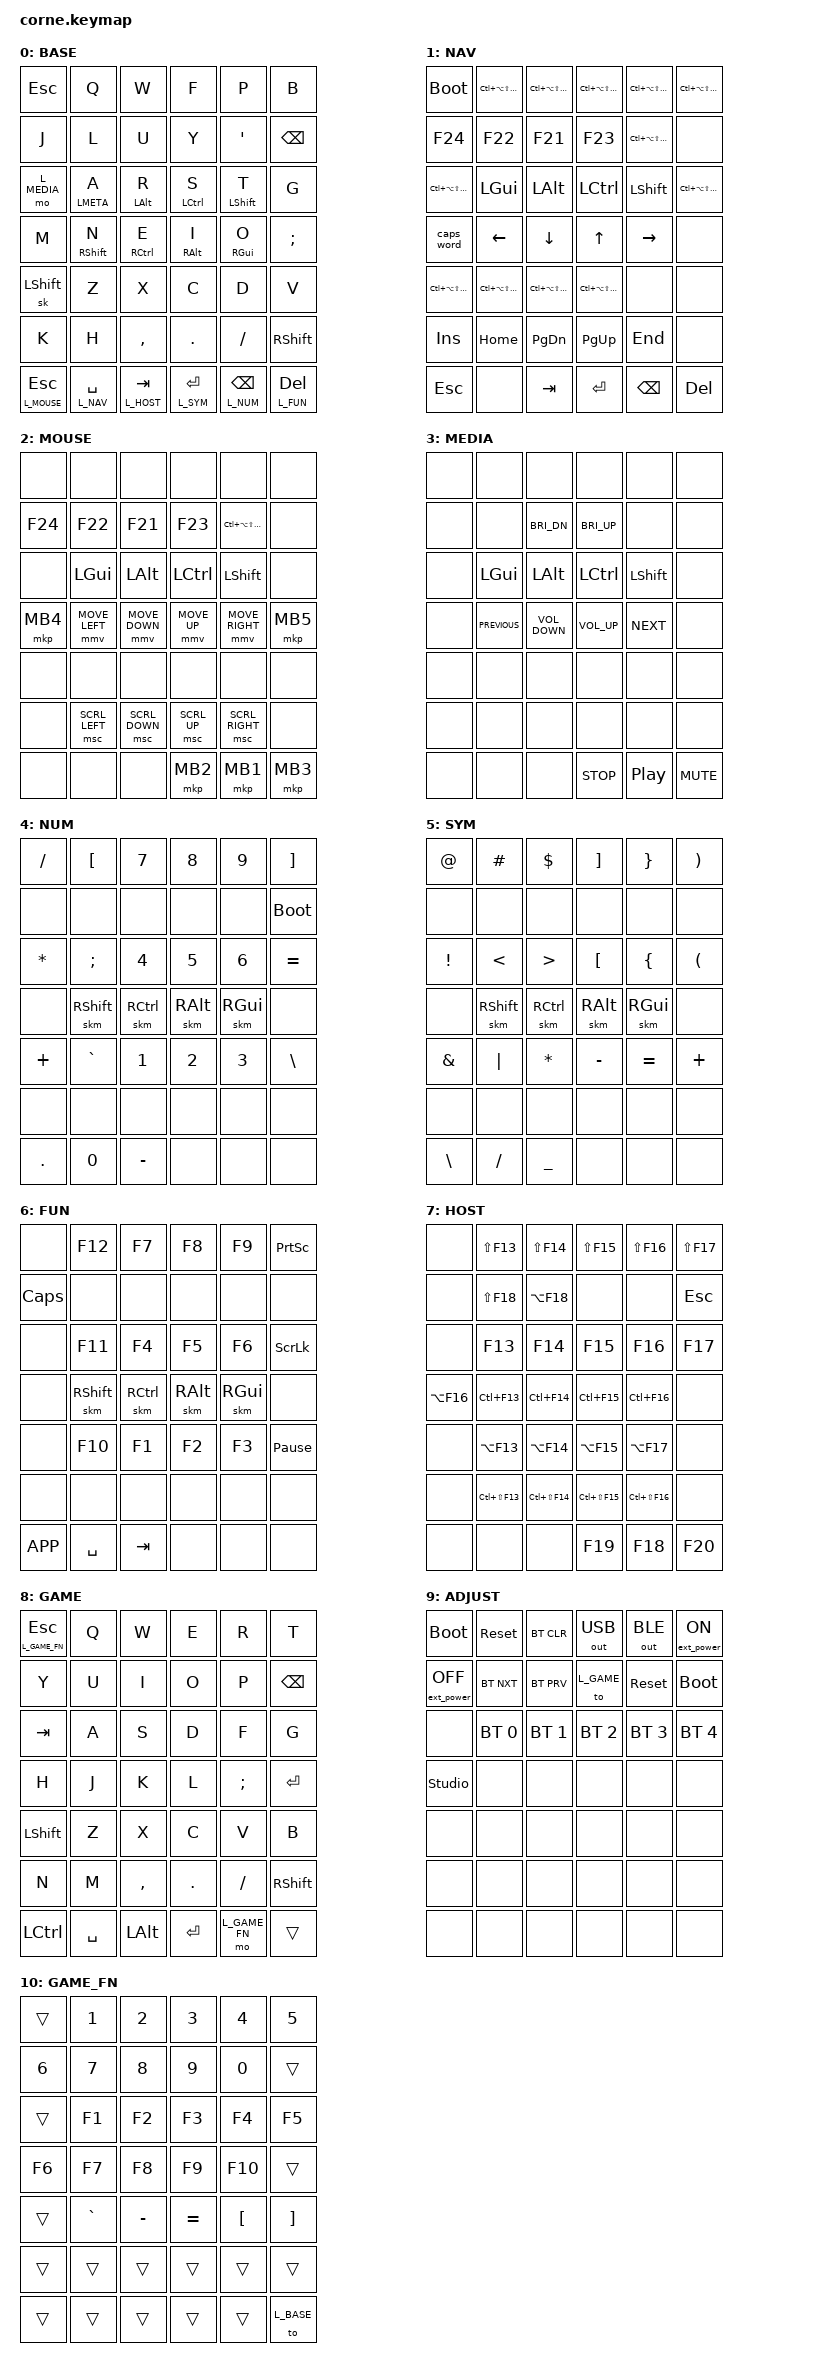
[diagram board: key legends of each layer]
/*
 * Copyright (c) 2020 The ZMK Contributors
 *
 * SPDX-License-Identifier: MIT
 */

#define ZMK_POINTING_DEFAULT_MOVE_VAL 800
#define ZMK_POINTING_DEFAULT_SCRL_VAL 20

#include <zmk-helpers/key-labels/42.h>
#include <behaviors.dtsi>
#include <dt-bindings/zmk/bt.h>
#include <dt-bindings/zmk/ext_power.h>
#include <dt-bindings/zmk/keys.h>
#include <dt-bindings/zmk/outputs.h>
#include <dt-bindings/zmk/pointing.h>

/* Layer numbers are part of the persisted ZMK keymap state. */
#define L_BASE 0
#define L_NAV 1
#define L_MOUSE 2
#define L_MEDIA 3
#define L_NUM 4
#define L_SYM 5
#define L_FUN 6
#define L_HOST 7
#define L_GAME 8
#define L_ADJUST 9
#define L_GAME_FN 10

&sk {
    release-after-ms = <1000>;
    quick-release;
    lazy;
    ignore-modifiers;
};

&mmv {
    acceleration-exponent = <1>;
    time-to-max-speed-ms = <500>;
    delay-ms = <0>;
};

&lt {
    tapping-term-ms = <220>;
    flavor = "tap-preferred";
    quick-tap-ms = <180>;
};

/ {
    behaviors {
        hml: home_row_mods_left {
            compatible = "zmk,behavior-hold-tap";
            #binding-cells = <2>;
            flavor = "balanced";
            tapping-term-ms = <280>;
            quick-tap-ms = <175>;
            require-prior-idle-ms = <150>;
            hold-trigger-key-positions = <
                KEYS_R
                THUMBS_R
            >;
            hold-trigger-on-release;
            bindings = <&kp>, <&kp>;
        };

        hmr: home_row_mods_right {
            compatible = "zmk,behavior-hold-tap";
            #binding-cells = <2>;
            flavor = "balanced";
            tapping-term-ms = <280>;
            quick-tap-ms = <175>;
            require-prior-idle-ms = <150>;
            hold-trigger-key-positions = <
                KEYS_L
                THUMBS_L
            >;
            hold-trigger-on-release;
            bindings = <&kp>, <&kp>;
        };
        /*
         * Dedicated HOST thumb layer-tap. Deliberately no quick-tap or
         * require-prior-idle: HOST must engage reliably immediately after
         * ordinary typing.
         */
        host_lt: host_lt {
            compatible = "zmk,behavior-hold-tap";
            #binding-cells = <2>;
            flavor = "balanced";
            tapping-term-ms = <200>;
            bindings = <&mo>, <&kp>;
        };
        /*
         * Dedicated GAME Esc/FN hold-tap for fast left-hand chord resolution
         * during gaming (e.g. hold Esc + Q/W/E/R/T for 1-5).
         */
        game_fn_lt: game_fn_lt {
            compatible = "zmk,behavior-hold-tap";
            #binding-cells = <2>;
            flavor = "hold-preferred";
            tapping-term-ms = <200>;
            bindings = <&mo>, <&kp>;
        };
        /*
         * Dedicated one-shot sticky modifier for utility modifier rails
         * (NUM, SYM, FUN). Deliberately NO quick-release so sticky modifiers
         * can chain reliably in Callum/Seniply-style usage.
         */
        skm: sticky_modifier {
            compatible = "zmk,behavior-sticky-key";
            #binding-cells = <1>;
            bindings = <&kp>;
            release-after-ms = <1000>;
            lazy;
            ignore-modifiers;
        };
    };

    combos {
        compatible = "zmk,combos";
    };

    conditional_layers {
        compatible = "zmk,conditional-layers";

        adjust {
            if-layers = <L_NAV L_NUM>;
            then-layer = <L_ADJUST>;
        };
    };

    keymap {
        compatible = "zmk,keymap";

        BASE {
            label = "BASE";
            display-name = "BASE";
            /* Colemak-DH, symmetric HRM, thumb layer-taps, and LM5 momentary MEDIA. */
            bindings = <
                &kp ESCAPE       &kp Q              &kp W              &kp F              &kp P              &kp B
                &kp J            &kp L              &kp U              &kp Y              &kp SQT            &kp BACKSPACE
                &mo L_MEDIA      &hml LMETA A       &hml LEFT_ALT R     &hml LCTRL S        &hml LEFT_SHIFT T   &kp G
                &kp M            &hmr RIGHT_SHIFT N &hmr RCTRL E        &hmr RIGHT_ALT I    &hmr RIGHT_GUI O   &kp SEMICOLON
                &sk LSHFT        &kp Z              &kp X              &kp C              &kp D              &kp V
                &kp K            &kp H              &kp COMMA           &kp DOT            &kp SLASH          &kp RIGHT_SHIFT
                &lt L_MOUSE ESCAPE &lt L_NAV SPACE   &host_lt L_HOST TAB &lt L_SYM ENTER     &lt L_NUM BACKSPACE &lt L_FUN DELETE
            >;
        };

        NAV {
            label = "NAV";
            display-name = "NAV";
            /*
             * Right-hand navigation mirrors MOUSE and MEDIA with NEIO geometry.
             * Left-hand carries Seniply/Selenium-inspired everyday application controls:
             * Top row: tab management (PrevTab, NextTab, NewTab, CloseTab, ReopenTab).
             * Home row: primary operations (SelectAll, Save) and held modifiers (GUI, Alt, Ctrl, Shift).
             * Bottom row: secondary navigation (Find, WordLeft, WordRight, FindNext).
             * Functional-layer thumbs are explicit so BASE layer-taps do not leak into repeats.
             * LT5 provides same-side left bootloader shortcut while holding NAV.
             * Caps Word is bound on RM0; semantic F21-F24 editing signals and Hyper+F13-F24
             * application signals are interpreted by host bridges.
             */
            bindings = <
                &bootloader              &kp LC(LA(LS(LG(F16))))  &kp LC(LA(LS(LG(F17))))  &kp LC(LA(LS(LG(F18))))  &kp LC(LA(LS(LG(F19))))  &kp LC(LA(LS(LG(F20))))
                &kp F24                  &kp F22                  &kp F21                  &kp F23                  &kp LC(LA(LS(LG(F24))))  &none
                &kp LC(LA(LS(LG(F13))))  &kp LGUI                 &kp LALT                 &kp LCTRL                &kp LEFT_SHIFT           &kp LC(LA(LS(LG(F14))))
                &caps_word               &kp LEFT                 &kp DOWN                 &kp UP                   &kp RIGHT                &none
                &kp LC(LA(LS(LG(F15))))  &kp LC(LA(LS(LG(F21))))  &kp LC(LA(LS(LG(F22))))  &kp LC(LA(LS(LG(F23))))  &none                    &none
                &kp INSERT               &kp HOME                 &kp PAGE_DOWN            &kp PAGE_UP              &kp END                  &none
                &kp ESCAPE               &none                    &kp TAB                  &kp ENTER                &kp BACKSPACE            &kp DELETE
            >;
        };

        MOUSE {
            label = "MOUSE";
            display-name = "MOUSE";
            /* NAV geometry: pointer on home, wheel on the secondary bank, F21-F24 editing. */
            bindings = <
                &none            &none             &none             &none             &none             &none
                &kp F24          &kp F22           &kp F21           &kp F23           &kp LC(LA(LS(LG(F24)))) &none
                &none            &kp LGUI          &kp LALT          &kp LCTRL         &kp LEFT_SHIFT    &none
                &mkp MB4         &mmv MOVE_LEFT    &mmv MOVE_DOWN     &mmv MOVE_UP      &mmv MOVE_RIGHT   &mkp MB5
                &none            &none             &none             &none             &none             &none
                &none            &msc SCRL_LEFT    &msc SCRL_DOWN     &msc SCRL_UP      &msc SCRL_RIGHT   &none
                &none            &none             &none             &mkp MB2          &mkp MB1          &mkp MB3
            >;
        };
        MEDIA {
            label = "MEDIA";
            display-name = "MEDIA";
            /* Directional media controls share NAV's right-hand geometry using Consumer HID. */
            bindings = <
                &none            &none             &none             &none             &none             &none
                &none            &none             &kp C_BRI_DN      &kp C_BRI_UP      &none             &none
                &none            &kp LGUI          &kp LALT          &kp LCTRL         &kp LEFT_SHIFT    &none
                &none            &kp C_PREVIOUS    &kp C_VOLUME_DOWN &kp C_VOLUME_UP   &kp C_NEXT        &none
                &none            &none             &none             &none             &none             &none
                &none            &none             &none             &none             &none             &none
                &none            &none             &none             &kp C_STOP        &kp C_PLAY_PAUSE  &kp C_MUTE
            >;
        };

        NUM {
            label = "NUM";
            display-name = "NUM";
            /*
             * Spatial numpad with arithmetic operator rail on the outer column;
             * mirrored one-shot modifiers (&skm) on the right.
             * RT5 provides a same-side right bootloader shortcut while holding NUM.
             */
            bindings = <
                &kp SLASH        &kp LEFT_BRACKET  &kp NUMBER_7        &kp NUMBER_8        &kp NUMBER_9        &kp RIGHT_BRACKET
                &none            &none             &none               &none               &none               &bootloader
                &kp ASTERISK     &kp SEMICOLON     &kp NUMBER_4        &kp NUMBER_5        &kp NUMBER_6        &kp EQUAL
                &none            &skm RIGHT_SHIFT  &skm RCTRL          &skm RIGHT_ALT      &skm RIGHT_GUI      &none
                &kp PLUS         &kp GRAVE         &kp NUMBER_1        &kp NUMBER_2        &kp NUMBER_3        &kp BACKSLASH
                &none            &none             &none               &none               &none               &none
                &kp PERIOD       &kp NUMBER_0     &kp MINUS            &none               &none               &none
            >;
        };

        SYM {
            label = "SYM";
            display-name = "SYM";
            /*
             * Seniply+-inspired symbol layer:
             * paired delimiters, comparison/operators on strong positions,
             * programming sigils, and mirrored one-shot modifiers (&skm).
             */
            bindings = <
                &kp AT_SIGN      &kp HASH          &kp DOLLAR           &kp RIGHT_BRACKET   &kp RIGHT_BRACE     &kp RIGHT_PARENTHESIS
                &none            &none             &none                &none               &none               &none
                &kp EXCLAMATION  &kp LESS_THAN     &kp GREATER_THAN     &kp LEFT_BRACKET    &kp LEFT_BRACE      &kp LEFT_PARENTHESIS
                &none            &skm RIGHT_SHIFT  &skm RCTRL           &skm RIGHT_ALT      &skm RIGHT_GUI      &none
                &kp AMPERSAND    &kp PIPE          &kp ASTERISK         &kp MINUS           &kp EQUAL           &kp PLUS
                &none            &none             &none                &none               &none               &none
                &kp BACKSLASH    &kp SLASH         &kp UNDERSCORE       &none               &none               &none
            >;
        };

        FUN {
            label = "FUN";
            display-name = "FUN";
            /* F-key geometry mirrors NUM; the right hand carries one-shot modifiers (&skm). */
            bindings = <
                &none            &kp F12            &kp F7              &kp F8              &kp F9              &kp PRINTSCREEN
                &kp CAPSLOCK     &none              &none               &none              &none              &none
                &none            &kp F11            &kp F4              &kp F5              &kp F6              &kp SCROLLLOCK
                &none            &skm RIGHT_SHIFT   &skm RCTRL          &skm RIGHT_ALT      &skm RIGHT_GUI     &none
                &none            &kp F10            &kp F1              &kp F2              &kp F3              &kp PAUSE_BREAK
                &none            &none              &none               &none              &none              &none
                &kp K_APP         &kp SPACE         &kp TAB              &none              &none              &none
            >;
        };

        HOST {
            label = "HOST";
            display-name = "HOST";
            /*
             * Semantic F-key protocol arranged by frequency: home row visits
             * workspaces, top row mirrors it one row up to move a window
             * there. Left bottom row holds system and terminal launchers.
             * Right home row has Previous Window and directional focus;
             * right bottom row has directional move. Right top row has
             * modal controls (Width, Overview) and Esc. Right thumbs carry
             * context actions (Fullscreen, Previous WS, Float).
             */
            bindings = <
                &none            &kp LS(F13)      &kp LS(F14)      &kp LS(F15)      &kp LS(F16)      &kp LS(F17)
                &none            &kp LS(F18)      &kp LA(F18)      &none            &none            &kp ESCAPE
                &none            &kp F13          &kp F14          &kp F15          &kp F16          &kp F17
                &kp LA(F16)      &kp LC(F13)      &kp LC(F14)      &kp LC(F15)      &kp LC(F16)      &none
                &none            &kp LA(F13)      &kp LA(F14)      &kp LA(F15)      &kp LA(F17)      &none
                &none            &kp LC(LS(F13))  &kp LC(LS(F14))  &kp LC(LS(F15))  &kp LC(LS(F16))  &none
                &none            &none            &none            &kp F19          &kp F18          &kp F20
            >;
        };
        GAME {
            label = "GAME";
            display-name = "GAME";
            /*
             * Plain tap-only QWERTY for gaming with hold-tap Esc/FN on LT5,
             * momentary GAME_FN on RH1, and protected BASE exit on GAME_FN RH2.
             */
            bindings = <
                &game_fn_lt L_GAME_FN ESCAPE &kp Q              &kp W              &kp E              &kp R              &kp T
                &kp Y            &kp U              &kp I              &kp O              &kp P              &kp BACKSPACE
                &kp TAB          &kp A              &kp S              &kp D              &kp F              &kp G
                &kp H            &kp J              &kp K              &kp L              &kp SEMICOLON      &kp ENTER
                &kp LEFT_SHIFT   &kp Z              &kp X              &kp C              &kp V              &kp B
                &kp N            &kp M              &kp COMMA           &kp DOT            &kp SLASH          &kp RIGHT_SHIFT
                &kp LCTRL        &kp SPACE          &kp LALT            &kp ENTER         &mo L_GAME_FN      &trans
            >;
        };

        ADJUST {
            label = "ADJUST";
            display-name = "ADJUST";
            /*
             * NAV + NUM only. Device management is explicit and source-local.
             * GAME is entered here deliberately, not from ordinary NAV keys.
             */
            bindings = <
                &bootloader       &sys_reset         &bt BT_CLR          &out OUT_USB        &out OUT_BLE        &ext_power EP_ON
                &ext_power EP_OFF  &bt BT_NXT         &bt BT_PRV          &to L_GAME          &sys_reset          &bootloader
                &none             &bt BT_SEL 0        &bt BT_SEL 1        &bt BT_SEL 2        &bt BT_SEL 3        &bt BT_SEL 4
                &studio_unlock    &none               &none               &none               &none               &none
                &none             &none               &none               &none               &none               &none
                &none             &none               &none               &none               &none               &none
                &none             &none               &none               &none               &none               &none
            >;
        };
        GAME_FN {
            label = "GAME_FN";
            display-name = "GAME_FN";
            /*
             * Auxiliary gaming utility layer over GAME. Numbers 1-0 on top row,
             * F1-F10 on home row, common gaming punctuation on bottom row.
             * Deliberate exit to BASE on RH2; other positions fall through (&trans) to GAME.
             */
            bindings = <
                &trans           &kp NUMBER_1       &kp NUMBER_2        &kp NUMBER_3        &kp NUMBER_4        &kp NUMBER_5
                &kp NUMBER_6     &kp NUMBER_7       &kp NUMBER_8        &kp NUMBER_9        &kp NUMBER_0        &trans
                &trans           &kp F1             &kp F2              &kp F3              &kp F4              &kp F5
                &kp F6           &kp F7             &kp F8              &kp F9              &kp F10             &trans
                &trans           &kp GRAVE          &kp MINUS           &kp EQUAL           &kp LEFT_BRACKET    &kp RIGHT_BRACKET
                &trans           &trans             &trans              &trans              &trans              &trans
                &trans           &trans             &trans              &trans              &trans              &to L_BASE
            >;
        };
    };
};
